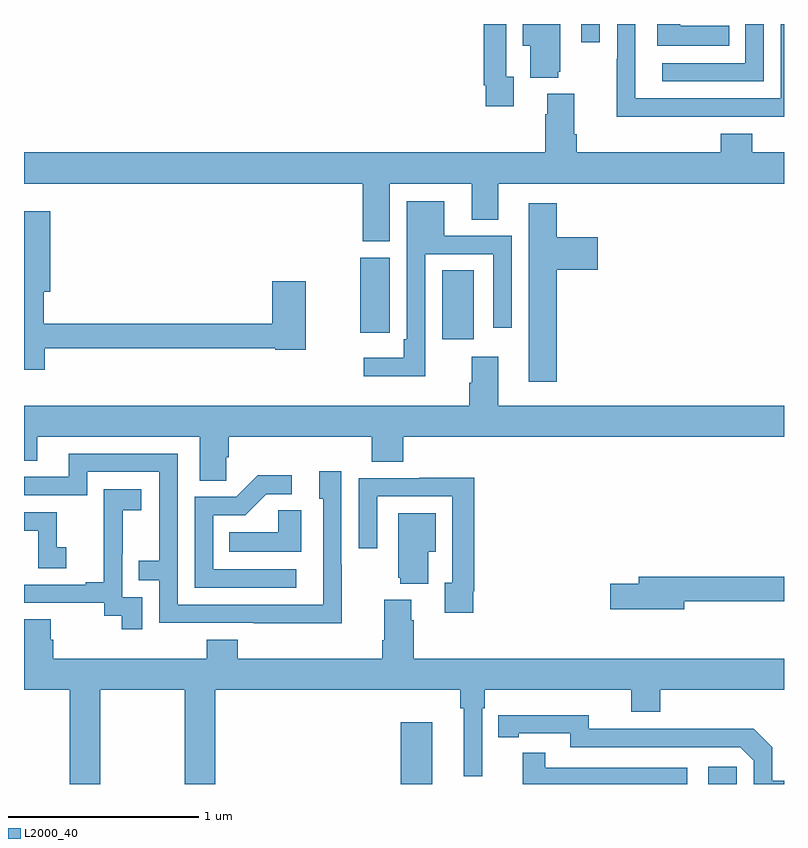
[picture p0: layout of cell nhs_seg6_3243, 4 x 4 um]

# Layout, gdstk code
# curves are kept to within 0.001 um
import gdstk
lib = gdstk.Library(unit=1e-6, precision=1e-09)
def R(c, l, rs):  # rectangles x0, y0, x1, y1
    for r in rs: c.add(gdstk.rectangle(r[:2], r[2:], *l))
def P(c, l, *ps):  # polygons
    for p in ps: c.add(gdstk.Polygon(p, *l))
L2000_40 = (2000, 40)

nhs_seg6_3243 = lib.new_cell('nhs_seg6_3243')
R(nhs_seg6_3243, L2000_40, [(302.984,953.5,303.148,953.824), (304.602,953.5,304.752,953.59), (303.2,955.842,303.367,956.204), (303.933,957.405,304.029,957.5)])
P(nhs_seg6_3243, L2000_40, [(304.583,957.012),(305,957.012),(305,957.5),(304.983,957.5),(304.983,957.108),(304.218,957.108),(304.218,957.5),(304.122,957.5),(304.122,957.317),(304.12,957.317),(304.12,957.011),(304.583,957.011)],
  [(304.712,957.49),(304.455,957.49),(304.455,957.5),(304.334,957.5),(304.334,957.386),(304.712,957.386)],
  [(304.893,957.5),(304.797,957.5),(304.797,957.294),(304.359,957.294),(304.359,957.198),(304.893,957.198)],
  [(303.577,957.222),(303.537,957.222),(303.537,957.5),(303.421,957.5),(303.421,957.178),(303.429,957.178),(303.429,957.066),(303.577,957.066)],
  [(303.812,957.249),(303.823,957.249),(303.823,957.5),(303.626,957.5),(303.626,957.386),(303.665,957.386),(303.665,957.218),(303.812,957.218)],
  [(302.926,956.66),(303.356,956.66),(303.356,956.47),(303.496,956.47),(303.496,956.66),(305,956.66),(305,956.824),(304.832,956.824),(304.832,956.923),(304.667,956.923),(304.667,956.824),(303.908,956.824),(303.908,956.92),(303.895,956.92),(303.895,957.133),(303.755,957.133),(303.755,957.026),(303.743,957.026),(303.743,956.824),(301,956.824),(301,956.66),(302.783,956.66),(302.783,956.356),(302.926,956.356)],
  [(303.111,956.289),(303.471,956.289),(303.471,955.902),(303.567,955.902),(303.567,956.385),(303.211,956.385),(303.211,956.566),(303.015,956.566),(303.015,955.84),(302.999,955.84),(302.999,955.744),(302.787,955.744),(302.787,955.646),(303.111,955.646)],
  [(303.803,956.207),(304.021,956.207),(304.021,956.377),(303.803,956.377),(303.803,956.557),(303.656,956.557),(303.656,955.617),(303.803,955.617)],
  [(301.109,955.794),(302.322,955.794),(302.322,955.786),(302.484,955.786),(302.484,956.146),(302.306,956.146),(302.306,955.922),(301.105,955.922),(301.105,956.09),(301.139,956.09),(301.139,956.515),(301,956.515),(301,955.68),(301.109,955.68)],
  [(302.925,955.987),(302.926,955.987),(302.926,956.271),(302.77,956.271),(302.77,955.875),(302.925,955.875)],
  [(302.064,955.219),(302.078,955.219),(302.078,955.328),(302.831,955.328),(302.831,955.195),(302.996,955.195),(302.996,955.328),(305,955.328),(305,955.492),(303.496,955.492),(303.496,955.75),(303.356,955.75),(303.356,955.613),(303.344,955.613),(303.344,955.492),(301,955.492),(301,955.201),(301.069,955.201),(301.069,955.328),(301.925,955.328),(301.925,955.096),(302.064,955.096)],
  [(302.673,954.653),(302.67,954.653),(302.67,955.147),(302.555,955.147),(302.555,955.002),(302.574,955.002),(302.574,954.444),(301.809,954.444),(301.809,955.239),(301.235,955.239),(301.235,955.116),(301,955.116),(301,955.02),(301.332,955.02),(301.332,955.143),(301.713,955.143),(301.713,954.674),(301.603,954.674),(301.603,954.573),(301.713,954.573),(301.713,954.348),(302.209,954.348),(302.209,954.347),(302.673,954.347)],
  [(302.434,954.63),(301.995,954.63),(301.995,954.915),(302.164,954.915),(302.275,955.026),(302.41,955.026),(302.41,955.124),(302.231,955.124),(302.118,955.011),(301.899,955.011),(301.899,954.534),(302.434,954.534)],
  [(303.364,954.514),(303.371,954.514),(303.371,955.112),(303.079,955.112),(303.079,955.11),(302.763,955.11),(302.763,954.741),(302.859,954.741),(302.859,955.014),(303.255,955.014),(303.255,954.558),(303.215,954.558),(303.215,954.402),(303.364,954.402)],
  [(301.623,954.483),(301.518,954.483),(301.518,954.713),(301.52,954.713),(301.52,954.941),(301.618,954.941),(301.618,955.051),(301.42,955.051),(301.42,954.845),(301.421,954.845),(301.421,954.562),(301.325,954.562),(301.325,954.549),(301,954.549),(301,954.453),(301.422,954.453),(301.422,954.385),(301.515,954.385),(301.515,954.315),(301.623,954.315)],
  [(302.458,954.941),(302.337,954.941),(302.337,954.826),(302.08,954.826),(302.08,954.722),(302.458,954.722)],
  [(301.222,954.745),(301.173,954.745),(301.173,954.93),(301,954.93),(301,954.834),(301.074,954.834),(301.074,954.636),(301.222,954.636)],
  [(303.127,954.722),(303.166,954.722),(303.166,954.925),(302.969,954.925),(302.969,954.585),(302.981,954.585),(302.981,954.554),(303.127,954.554)],
  [(304.474,954.462),(305,954.462),(305,954.59),(304.235,954.59),(304.235,954.554),(304.086,954.554),(304.086,954.419),(304.474,954.419)],
  [(301.401,953.996),(301.846,953.996),(301.846,953.5),(302.006,953.5),(302.006,953.996),(303.295,953.996),(303.295,953.9),(303.314,953.9),(303.314,953.541),(303.411,953.541),(303.411,953.9),(303.425,953.9),(303.425,953.996),(304.196,953.996),(304.196,953.879),(304.349,953.879),(304.349,953.996),(305,953.996),(305,954.16),(303.05,954.16),(303.05,954.362),(303.037,954.362),(303.037,954.469),(302.897,954.469),(302.897,954.256),(302.885,954.256),(302.885,954.16),(302.126,954.16),(302.126,954.259),(301.961,954.259),(301.961,954.16),(301.154,954.16),(301.154,954.258),(301.141,954.258),(301.141,954.368),(301,954.368),(301,953.996),(301.241,953.996),(301.241,953.5),(301.401,953.5)],
  [(305,953.517),(304.938,953.517),(304.938,953.694),(304.84,953.792),(304.432,953.792),(304.432,953.79),(303.972,953.79),(303.972,953.863),(303.496,953.862),(303.496,953.746),(303.604,953.746),(303.604,953.766),(303.876,953.766),(303.876,953.694),(304.77,953.694),(304.842,953.622),(304.842,953.5),(305,953.5)],
  [(304.492,953.586),(303.743,953.586),(303.743,953.665),(303.626,953.665),(303.626,953.5),(304.492,953.5)])

lib.write_gds('nhs_seg6_3243.gds')
